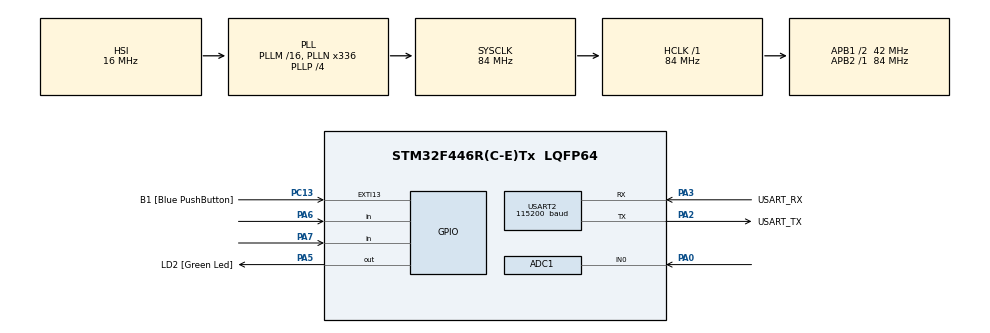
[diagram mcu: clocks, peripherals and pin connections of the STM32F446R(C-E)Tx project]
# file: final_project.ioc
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ADC1.Channel-0\#ChannelRegularConversion=ADC_CHANNEL_0
ADC1.ContinuousConvMode=ENABLE
ADC1.NbrOfConversionFlag=1
ADC1.Rank-0\#ChannelRegularConversion=1
ADC1.SamplingTime-0\#ChannelRegularConversion=ADC_SAMPLETIME_3CYCLES
ADC1.master=1
FREERTOS.Tasks01=AES,0,128,StartDefaultTask,Default,NULL,Dynamic,NULL,NULL;CHACHA20,-3,128,StartTask02,Default,NULL,Dynamic,NULL,NULL
Mcu.Family=STM32F4
Mcu.Name=STM32F446R(C-E)Tx
Mcu.Package=LQFP64
NVIC.PriorityGroup=NVIC_PRIORITYGROUP_4
PA0-WKUP.Signal=ADCx_IN0
PA13.GPIO_Label=TMS
PA13.Mode=Serial_Wire
PA13.Signal=SYS_JTMS-SWDIO
PA14.GPIO_Label=TCK
PA14.Mode=Serial_Wire
PA14.Signal=SYS_JTCK-SWCLK
PA2.GPIO_Label=USART_TX
PA2.Mode=Asynchronous
PA2.Signal=USART2_TX
PA3.GPIO_Label=USART_RX
PA3.Mode=Asynchronous
PA3.Signal=USART2_RX
PA5.GPIO_Label=LD2 [Green Led]
PA5.Signal=GPIO_Output
PA6.Signal=GPIO_Input
PA7.Signal=GPIO_Input
PB3.GPIO_Label=SWO
PB3.Signal=SYS_JTDO-SWO
PC13.GPIO_Label=B1 [Blue PushButton]
PC13.GPIO_ModeDefaultEXTI=GPIO_MODE_IT_FALLING
PC13.Signal=GPXTI13
PC14-OSC32_IN.Mode=LSE-External-Oscillator
PC14-OSC32_IN.Signal=RCC_OSC32_IN
PC15-OSC32_OUT.Mode=LSE-External-Oscillator
PC15-OSC32_OUT.Signal=RCC_OSC32_OUT
PH0-OSC_IN.Mode=HSE-External-Oscillator
PH0-OSC_IN.Signal=RCC_OSC_IN
PH1-OSC_OUT.Mode=HSE-External-Oscillator
PH1-OSC_OUT.Signal=RCC_OSC_OUT
ProjectManager.HeapSize=0x200
ProjectManager.StackSize=0x400
ProjectManager.TargetToolchain=STM32CubeIDE
RCC.48MHZClocksFreq_Value=84000000
RCC.AHBFreq_Value=84000000
RCC.APB1CLKDivider=RCC_HCLK_DIV2
RCC.APB1Freq_Value=42000000
RCC.APB1TimFreq_Value=84000000
RCC.APB2Freq_Value=84000000
RCC.APB2TimFreq_Value=84000000
RCC.CortexFreq_Value=84000000
RCC.FLatency-AdvancedSettings=FLASH_LATENCY_2
RCC.HCLKFreq_Value=84000000
RCC.HSE_VALUE=8000000
RCC.HSI_VALUE=16000000
RCC.PLLN=336
RCC.PLLP=RCC_PLLP_DIV4
RCC.SYSCLKFreq_VALUE=84000000
RCC.SYSCLKSource=RCC_SYSCLKSOURCE_PLLCLK
RCC.USBFreq_Value=168000000
RCC.VCOOutputFreq_Value=336000000
SH.ADCx_IN0.0=ADC1_IN0,IN0
USART2.BaudRate=115200 
USART2.VirtualMode=VM_ASYNC
VP_FREERTOS_VS_CMSIS_V1.Mode=CMSIS_V1
VP_MBEDTLS_VS_MBEDTLS.Mode=Enabled
board=NUCLEO-F446RE

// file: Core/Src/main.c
/* USER CODE BEGIN Header */
/**
  ******************************************************************************
  * @file           : main.c
  * @brief          : Multi-Mode Encrypted UART with Queue Management
  ******************************************************************************
  * Features:
  * - ADC voltage reading on PA0 (potentiometer)
  * - Button PA6: Toggle AES-128 ECB encryption
  * - Button PA7: Toggle ChaCha20 encryption
  * - Continuous plaintext display when no encryption active
  * - FreeRTOS task switching with queues
  * - Pre-encryption and post-encryption queues
  ******************************************************************************
  */
/* USER CODE END Header */

#include "main.h"
#include "cmsis_os.h"
#include "mbedtls.h"

/* USER CODE BEGIN Includes */
#include "mbedtls/aes.h"
#include "mbedtls/chacha20.h"
#include <string.h>
#include <stdio.h>
/* USER CODE END Includes */

/* USER CODE BEGIN PTD */
typedef enum {
    MODE_PLAINTEXT = 0,
    MODE_AES,
    MODE_CHACHA20
} EncryptionMode_t;

typedef struct {
    float voltage;
    uint16_t adcValue;
    uint32_t timestamp;
    uint32_t sequenceNumber;
} ADC_Reading_t;

typedef struct {
    uint8_t data[512];
    size_t length;
    uint32_t sequenceNumber;
    EncryptionMode_t mode;
} EncryptedData_t;
/* USER CODE END PTD */

/* USER CODE BEGIN PD */
#define MAX_PLAINTEXT_SIZE  256
#define MAX_ENCRYPTED_SIZE  (MAX_PLAINTEXT_SIZE + 16)
#define FRAME_START_BYTE    0xAA
#define FRAME_END_BYTE      0x55

// ADC millivolts
#define VREF_MV             3300
#define ADC_RESOLUTION      4095
//queues
#define PRE_ENCRYPT_QUEUE_SIZE   10
#define POST_ENCRYPT_QUEUE_SIZE  10
//buttons
#define BUTTON_AES_PIN      GPIO_PIN_6
#define BUTTON_CHACHA_PIN   GPIO_PIN_7
#define BUTTON_GPIO_PORT    GPIOA
/* USER CODE END PD */

ADC_HandleTypeDef hadc1;
UART_HandleTypeDef huart2;

osThreadId AESTaskHandle;
osThreadId ChaCha20TaskHandle;
osThreadId ADCReadTaskHandle;
osThreadId UARTTransmitTaskHandle;

osMessageQId preEncryptQueueHandle;
osMessageQId postEncryptQueueHandle;
osMutexId uartMutexHandle;

/* USER CODE BEGIN PV */

// AES key (16 bytes:AES-128)
static const unsigned char aes_key[16] = {
    0x2b, 0x7e, 0x15, 0x16, 0x28, 0xae, 0xd2, 0xa6,
    0xab, 0xf7, 0x15, 0x88, 0x09, 0xcf, 0x4f, 0x3c
};

// ChaCha20 key (32 bytes)
static const unsigned char chacha20_key[32] = {
    0x00, 0x01, 0x02, 0x03, 0x04, 0x05, 0x06, 0x07,
    0x08, 0x09, 0x0a, 0x0b, 0x0c, 0x0d, 0x0e, 0x0f,
    0x10, 0x11, 0x12, 0x13, 0x14, 0x15, 0x16, 0x17,
    0x18, 0x19, 0x1a, 0x1b, 0x1c, 0x1d, 0x1e, 0x1f
};

// ChaCha20 nonce (12 bytes)
static const unsigned char chacha20_nonce[12] = {
    0x00, 0x00, 0x00, 0x00, 0x00, 0x00, 0x00, 0x00,
    0x00, 0x00, 0x00, 0x00
};

static unsigned char aes_iv[16] = {
    0x00, 0x01, 0x02, 0x03, 0x04, 0x05, 0x06, 0x07,
    0x08, 0x09, 0x0a, 0x0b, 0x0c, 0x0d, 0x0e, 0x0f
};

// the system state
volatile EncryptionMode_t currentMode = MODE_PLAINTEXT;
volatile EncryptionMode_t pendingMode = MODE_PLAINTEXT;
volatile uint32_t buttonPA6PressTime = 0;
volatile uint32_t buttonPA7PressTime = 0;
volatile uint32_t sequenceCounter = 0;

// ADC reading
volatile uint16_t adcValue = 0;
volatile float voltageReading = 0.0f;

// debug counters/detects entry
volatile uint32_t debugISRCounter = 0;
volatile uint32_t debugPA6Counter = 0;
volatile uint32_t debugPA7Counter = 0;

/* USER CODE END PV */

void SystemClock_Config(void);
static void MX_GPIO_Init(void);
static void MX_USART2_UART_Init(void);
static void MX_ADC1_Init(void);

void ADCReadTask(void const * argument);
void AESTask(void const * argument);
void ChaCha20Task(void const * argument);
void UARTTransmitTask(void const * argument);

/* USER CODE BEGIN PFP */
// encryption
static int add_pkcs7_padding(uint8_t *data, size_t data_len, size_t buffer_size);
static uint8_t calculate_checksum(const uint8_t *data, size_t length);
static void generate_random_iv(uint8_t *iv);
static int aes_encrypt_data(const uint8_t *plaintext, size_t plain_len,
                           uint8_t *ciphertext, size_t *cipher_len, uint8_t *iv);
static int chacha20_encrypt_data(const uint8_t *plaintext, size_t plain_len,
                                uint8_t *ciphertext, size_t *cipher_len);
int create_encrypted_frame(const uint8_t *encrypted, size_t enc_len,
                          uint8_t *frame, size_t *frame_len, EncryptionMode_t mode);

// functions for utility
int _write(int file, char *ptr, int len);
float read_voltage_mv(void);
void print_hex(const char* label, const uint8_t* data, size_t length);
const char* mode_to_string(EncryptionMode_t mode);
/* USER CODE END PFP */

/* USER CODE BEGIN 0 */

/**
 * @brief Printf redirect to UART (thread-safe with mutex)
 */
int _write(int file, char *ptr, int len)
{
    if (uartMutexHandle != NULL) {
        osMutexWait(uartMutexHandle, osWaitForever);
    }
    HAL_UART_Transmit(&huart2, (uint8_t *)ptr, len, HAL_MAX_DELAY);
    if (uartMutexHandle != NULL) {
        osMutexRelease(uartMutexHandle);
    }
    return len;
}

/**
 * @brief Convert mode enum to string
 */
const char* mode_to_string(EncryptionMode_t mode)
{
    switch(mode) {
        case MODE_PLAINTEXT: return "PLAINTEXT";
        case MODE_AES: return "AES-128";
        case MODE_CHACHA20: return "CHACHA20";
        default: return "UNKNOWN";
    }
}

/**
 * @brief Print data in hex format
 */
void print_hex(const char* label, const uint8_t* data, size_t length)
{
    printf("%s [%u bytes]: ", label, (unsigned int)length);
    for (size_t i = 0; i < length; i++) {
        printf("%02X ", data[i]);
        if ((i + 1) % 16 == 0 && i != length - 1) {
            printf("\r\n                    ");
        }
    }
    printf("\r\n");
}

/**
 * @brief Read voltage from ADC in millivolts
 */
float read_voltage_mv(void)
{
    uint32_t adc_raw = adcValue;
    return (adc_raw * VREF_MV) / (float)ADC_RESOLUTION;
}

/**
 * @brief Button interrupt callback - FIXED VERSION
 *  proper toggle behavior for both buttons
 */
void HAL_GPIO_EXTI_Callback(uint16_t GPIO_Pin)
{
    // INcrement counter
    debugISRCounter++;

    if (GPIO_Pin == BUTTON_AES_PIN) {
        debugPA6Counter++;

        // if AES mode, go back to PT
        if (currentMode == MODE_AES) {
            pendingMode = MODE_PLAINTEXT;
        }
        // else switch to AES (from PT or chacha20)
        else {
            pendingMode = MODE_AES;
        }
    }
    else if (GPIO_Pin == BUTTON_CHACHA_PIN) {
        debugPA7Counter++;

        // if ChaCha20 mode, go back to PT
        if (currentMode == MODE_CHACHA20) {
            pendingMode = MODE_PLAINTEXT;
        }
        // else switch to ChaCha20 (from PT or AES)
        else {
            pendingMode = MODE_CHACHA20;
        }
    }
}

/**
 * @brief add PKCS#7 padding
 */
static int add_pkcs7_padding(uint8_t *data, size_t data_len, size_t buffer_size)
{
    size_t padding_len = 16 - (data_len % 16);

    if (data_len + padding_len > buffer_size) {
        return -1;
    }

    for (size_t i = 0; i < padding_len; i++) {
        data[data_len + i] = (uint8_t)padding_len;
    }

    return data_len + padding_len;
}

/**
 * @brief calculate XOR checksum
 */
static uint8_t calculate_checksum(const uint8_t *data, size_t length)
{
    uint8_t checksum = 0;
    for (size_t i = 0; i < length; i++) {
        checksum ^= data[i];
    }
    return checksum;
}

/**
 * @brief generate IV
 */
static void generate_random_iv(uint8_t *iv)
{
    static uint32_t counter = 0;
    counter++;

    memcpy(iv, aes_iv, 16);
    iv[12] = (counter >> 24) & 0xFF;
    iv[13] = (counter >> 16) & 0xFF;
    iv[14] = (counter >> 8) & 0xFF;
    iv[15] = counter & 0xFF;
}

/**
 * @brief encrypt data using AES-128 ECB
 */
static int aes_encrypt_data(const uint8_t *plaintext, size_t plain_len,
                           uint8_t *ciphertext, size_t *cipher_len,
                           uint8_t *iv)
{
    mbedtls_aes_context aes;
    uint8_t padded_buffer[MAX_ENCRYPTED_SIZE];
    int ret;
    int padded_len;

    (void)iv;  // IV not used in ECB mode

    if (plain_len > MAX_PLAINTEXT_SIZE) {
        return -1;
    }

    memcpy(padded_buffer, plaintext, plain_len);

    padded_len = add_pkcs7_padding(padded_buffer, plain_len, MAX_ENCRYPTED_SIZE);
    if (padded_len < 0) {
        return -2;
    }

    mbedtls_aes_init(&aes);

    ret = mbedtls_aes_setkey_enc(&aes, aes_key, 128);
    if (ret != 0) {
        mbedtls_aes_free(&aes);
        return ret;
    }

    // encrypt block by block (ECB mode)
    for (int i = 0; i < padded_len; i += 16) {
        ret = mbedtls_aes_crypt_ecb(&aes, MBEDTLS_AES_ENCRYPT,
                                     &padded_buffer[i], &ciphertext[i]);
        if (ret != 0) {
            mbedtls_aes_free(&aes);
            return ret;
        }
    }

    mbedtls_aes_free(&aes);

    *cipher_len = padded_len;
    return 0;
}

/**
 * @brief encrypt data using ChaCha20
 */
static int chacha20_encrypt_data(const uint8_t *plaintext, size_t plain_len,
                                uint8_t *ciphertext, size_t *cipher_len)
{
    mbedtls_chacha20_context chacha;
    int ret;
    static uint32_t counter = 0;
    uint8_t nonce[12];

    if (plain_len > MAX_PLAINTEXT_SIZE) {
        return -1;
    }

    // unique nonce through incrementing counter
    memcpy(nonce, chacha20_nonce, 12);
    counter++;
    nonce[8] = (counter >> 24) & 0xFF;
    nonce[9] = (counter >> 16) & 0xFF;
    nonce[10] = (counter >> 8) & 0xFF;
    nonce[11] = counter & 0xFF;

    mbedtls_chacha20_init(&chacha);

    ret = mbedtls_chacha20_setkey(&chacha, chacha20_key);
    if (ret != 0) {
        mbedtls_chacha20_free(&chacha);
        return ret;
    }

    ret = mbedtls_chacha20_starts(&chacha, nonce, 0);
    if (ret != 0) {
        mbedtls_chacha20_free(&chacha);
        return ret;
    }

    ret = mbedtls_chacha20_update(&chacha, plain_len, plaintext, ciphertext);
    if (ret != 0) {
        mbedtls_chacha20_free(&chacha);
        return ret;
    }

    mbedtls_chacha20_free(&chacha);

    *cipher_len = plain_len;
    return 0;
}

/**
 * @brief create encrypted frame with header and checksum
 */
int create_encrypted_frame(const uint8_t *encrypted, size_t enc_len,
                          uint8_t *frame, size_t *frame_len,
                          EncryptionMode_t mode)
{
    uint8_t iv_copy[16];
    size_t index = 0;

    frame[index++] = FRAME_START_BYTE;
    frame[index++] = (uint8_t)mode;
    frame[index++] = (enc_len >> 8) & 0xFF;
    frame[index++] = enc_len & 0xFF;

    generate_random_iv(iv_copy);
    memcpy(&frame[index], iv_copy, 16);
    index += 16;

    memcpy(&frame[index], encrypted, enc_len);
    index += enc_len;

    uint8_t checksum = calculate_checksum(&frame[1], index - 1);
    frame[index++] = checksum;
    frame[index++] = FRAME_END_BYTE;

    *frame_len = index;
    return 0;
}

/* USER CODE END 0 */

int main(void)
{
  HAL_Init();
  SystemClock_Config();
  MX_GPIO_Init();
  MX_USART2_UART_Init();
  MX_ADC1_Init();
  MX_MBEDTLS_Init();

  /* USER CODE BEGIN 2 */

  // ADC in continuous conversion mode
  if (HAL_ADC_Start(&hadc1) != HAL_OK) {
    Error_Handler();
  }

  HAL_Delay(1000);

  printf("\r\n\r\n");
  printf("========================================================\r\n");
  printf("  STM32 Multi-Mode Encrypted Voltage Monitor\r\n");
  printf("========================================================\r\n");
  printf("Build: %s %s\r\n", __DATE__, __TIME__);
  printf("Supported Modes:\r\n");
  printf("  - PLAINTEXT (default)\r\n");
  printf("  - AES-128 ECB\r\n");
  printf("  - ChaCha20\r\n");
  printf("ADC Resolution: 12-bit (0-4095)\r\n");
  printf("Voltage Range: 0.00V - 3.30V\r\n");
  printf("UART Baud Rate: 115200\r\n");
  printf("\r\n");
  printf("Controls:\r\n");
  printf("  - PA6: Toggle AES encryption ON/OFF\r\n");
  printf("  - PA7: Toggle ChaCha20 encryption ON/OFF\r\n");
  printf("  - Single press to switch modes\r\n");
  printf("\r\n");
  printf("Operation:\r\n");
  printf("  - Continuous ADC readings from potentiometer\r\n");
  printf("  - Press PA6 once to encrypt with AES\r\n");
  printf("  - Press PA6 again to return to plaintext\r\n");
  printf("  - Press PA7 once to encrypt with ChaCha20\r\n");
  printf("  - Press PA7 again to return to plaintext\r\n");
  printf("  - Can switch directly between encryption modes\r\n");
  printf("\r\n");
  printf("Current Mode: PLAINTEXT\r\n");
  printf("========================================================\r\n\r\n");

  /* USER CODE END 2 */

  /* create mutexes */
  osMutexDef(uartMutex);
  uartMutexHandle = osMutexCreate(osMutex(uartMutex));

  /* create queues */
  osMessageQDef(preEncryptQueue, PRE_ENCRYPT_QUEUE_SIZE, ADC_Reading_t);
  preEncryptQueueHandle = osMessageCreate(osMessageQ(preEncryptQueue), NULL);

  osMessageQDef(postEncryptQueue, POST_ENCRYPT_QUEUE_SIZE, EncryptedData_t*);
  postEncryptQueueHandle = osMessageCreate(osMessageQ(postEncryptQueue), NULL);

  /* create threads */
  osThreadDef(ADCRead, ADCReadTask, osPriorityNormal, 0, 256);
  ADCReadTaskHandle = osThreadCreate(osThread(ADCRead), NULL);

  osThreadDef(AES, AESTask, osPriorityNormal, 0, 512);
  AESTaskHandle = osThreadCreate(osThread(AES), NULL);

  osThreadDef(ChaCha20, ChaCha20Task, osPriorityNormal, 0, 512);
  ChaCha20TaskHandle = osThreadCreate(osThread(ChaCha20), NULL);

  osThreadDef(UARTTransmit, UARTTransmitTask, osPriorityHigh, 0, 512);
  UARTTransmitTaskHandle = osThreadCreate(osThread(UARTTransmit), NULL);

  /* start scheduler */
  osKernelStart();

  while (1)
  {
  }
}

void SystemClock_Config(void)
{
  RCC_OscInitTypeDef RCC_OscInitStruct = {0};
  RCC_ClkInitTypeDef RCC_ClkInitStruct = {0};

  __HAL_RCC_PWR_CLK_ENABLE();
  __HAL_PWR_VOLTAGESCALING_CONFIG(PWR_REGULATOR_VOLTAGE_SCALE3);

  RCC_OscInitStruct.OscillatorType = RCC_OSCILLATORTYPE_HSI;
  RCC_OscInitStruct.HSIState = RCC_HSI_ON;
  RCC_OscInitStruct.HSICalibrationValue = RCC_HSICALIBRATION_DEFAULT;
  RCC_OscInitStruct.PLL.PLLState = RCC_PLL_ON;
  RCC_OscInitStruct.PLL.PLLSource = RCC_PLLSOURCE_HSI;
  RCC_OscInitStruct.PLL.PLLM = 16;
  RCC_OscInitStruct.PLL.PLLN = 336;
  RCC_OscInitStruct.PLL.PLLP = RCC_PLLP_DIV4;
  RCC_OscInitStruct.PLL.PLLQ = 2;
  RCC_OscInitStruct.PLL.PLLR = 2;
  if (HAL_RCC_OscConfig(&RCC_OscInitStruct) != HAL_OK)
  {
    Error_Handler();
  }

  RCC_ClkInitStruct.ClockType = RCC_CLOCKTYPE_HCLK|RCC_CLOCKTYPE_SYSCLK
                              |RCC_CLOCKTYPE_PCLK1|RCC_CLOCKTYPE_PCLK2;
  RCC_ClkInitStruct.SYSCLKSource = RCC_SYSCLKSOURCE_PLLCLK;
  RCC_ClkInitStruct.AHBCLKDivider = RCC_SYSCLK_DIV1;
  RCC_ClkInitStruct.APB1CLKDivider = RCC_HCLK_DIV2;
  RCC_ClkInitStruct.APB2CLKDivider = RCC_HCLK_DIV1;

  if (HAL_RCC_ClockConfig(&RCC_ClkInitStruct, FLASH_LATENCY_2) != HAL_OK)
  {
    Error_Handler();
  }
}

static void MX_ADC1_Init(void)
{
  ADC_ChannelConfTypeDef sConfig = {0};

  hadc1.Instance = ADC1;
  hadc1.Init.ClockPrescaler = ADC_CLOCK_SYNC_PCLK_DIV4;
  hadc1.Init.Resolution = ADC_RESOLUTION_12B;
  hadc1.Init.ScanConvMode = DISABLE;
  hadc1.Init.ContinuousConvMode = ENABLE;
  hadc1.Init.DiscontinuousConvMode = DISABLE;
  hadc1.Init.ExternalTrigConvEdge = ADC_EXTERNALTRIGCONVEDGE_NONE;
  hadc1.Init.ExternalTrigConv = ADC_SOFTWARE_START;
  hadc1.Init.DataAlign = ADC_DATAALIGN_RIGHT;
  hadc1.Init.NbrOfConversion = 1;
  hadc1.Init.DMAContinuousRequests = DISABLE;
  hadc1.Init.EOCSelection = ADC_EOC_SINGLE_CONV;
  if (HAL_ADC_Init(&hadc1) != HAL_OK)
  {
    Error_Handler();
  }

  sConfig.Channel = ADC_CHANNEL_0;
  sConfig.Rank = 1;
  sConfig.SamplingTime = ADC_SAMPLETIME_3CYCLES;
  if (HAL_ADC_ConfigChannel(&hadc1, &sConfig) != HAL_OK)
  {
    Error_Handler();
  }
}

static void MX_USART2_UART_Init(void)
{
  huart2.Instance = USART2;
  huart2.Init.BaudRate = 115200;
  huart2.Init.WordLength = UART_WORDLENGTH_8B;
  huart2.Init.StopBits = UART_STOPBITS_1;
  huart2.Init.Parity = UART_PARITY_NONE;
  huart2.Init.Mode = UART_MODE_TX_RX;
  huart2.Init.HwFlowCtl = UART_HWCONTROL_NONE;
  huart2.Init.OverSampling = UART_OVERSAMPLING_16;
  if (HAL_UART_Init(&huart2) != HAL_OK)
  {
    Error_Handler();
  }
}

static void MX_GPIO_Init(void)
{
  GPIO_InitTypeDef GPIO_InitStruct = {0};

  __HAL_RCC_GPIOC_CLK_ENABLE();
  __HAL_RCC_GPIOH_CLK_ENABLE();
  __HAL_RCC_GPIOA_CLK_ENABLE();
  __HAL_RCC_GPIOB_CLK_ENABLE();

  /*Configure GPIO pin Output Level */
  HAL_GPIO_WritePin(LD2_GPIO_Port, LD2_Pin, GPIO_PIN_RESET);

  /*Configure GPIO pin : B1_Pin */
  GPIO_InitStruct.Pin = B1_Pin;
  GPIO_InitStruct.Mode = GPIO_MODE_IT_FALLING;
  GPIO_InitStruct.Pull = GPIO_NOPULL;
  HAL_GPIO_Init(B1_GPIO_Port, &GPIO_InitStruct);

  /*Configure GPIO pin : LD2_Pin */
  GPIO_InitStruct.Pin = LD2_Pin;
  GPIO_InitStruct.Mode = GPIO_MODE_OUTPUT_PP;
  GPIO_InitStruct.Pull = GPIO_NOPULL;
  GPIO_InitStruct.Speed = GPIO_SPEED_FREQ_LOW;
  HAL_GPIO_Init(LD2_GPIO_Port, &GPIO_InitStruct);

  /*Configure GPIO pins : PA6 PA7 (External Buttons with Interrupts) */
  GPIO_InitStruct.Pin = BUTTON_AES_PIN | BUTTON_CHACHA_PIN;
  GPIO_InitStruct.Mode = GPIO_MODE_IT_FALLING;
  GPIO_InitStruct.Pull = GPIO_PULLUP;  // Enable pull-up for buttons
  HAL_GPIO_Init(BUTTON_GPIO_PORT, &GPIO_InitStruct);

  /* EXTI interrupt init for PA6 and PA7 */
  HAL_NVIC_SetPriority(EXTI9_5_IRQn, 6, 0);  // Priority 6 (lower priority than FreeRTOS max)
  HAL_NVIC_EnableIRQ(EXTI9_5_IRQn);
}

/* USER CODE BEGIN 4 */

/**
 * @brief ADC read task - Continuously reads and queues
 */
void ADCReadTask(void const * argument)
{
    ADC_Reading_t reading;
    uint32_t queueFailCount = 0;

    printf("[ADC_TASK] Started\r\n");
    osDelay(100);

    for(;;)
    {
        // read ADC value
        adcValue = HAL_ADC_GetValue(&hadc1);
        voltageReading = read_voltage_mv();

        // prepare reading structure
        reading.voltage = voltageReading;
        reading.adcValue = adcValue;
        reading.timestamp = HAL_GetTick();
        reading.sequenceNumber = sequenceCounter++;

        // only queue if someone will process it
        // check current and pending modes
        EncryptionMode_t activeMode = (pendingMode != currentMode) ? pendingMode : currentMode;

        // only queue for encryption tasks if in encryption mode
        if (activeMode != MODE_PLAINTEXT) {
            if (osMessagePut(preEncryptQueueHandle, (uint32_t)&reading, 10) != osOK) {
                queueFailCount++;
                if (queueFailCount % 10 == 0) {
                    printf("[ADC_TASK] Warning: Pre-encrypt queue full! (fails: %lu)\r\n", queueFailCount);
                }
            }
        }
        // in plaintext mode, data is read directly by UART task via globals

        // sample every 250ms
        osDelay(250);
    }
}

/**
 * @brief AES Task - Processes data when in AES mode
 */
void AESTask(void const * argument)
{
    osEvent evt;
    ADC_Reading_t reading;
    char plaintext[128];
    uint8_t encrypted[MAX_ENCRYPTED_SIZE];
    size_t enc_len;
    EncryptedData_t *encData;
    int ret;

    printf("[AES_TASK] Started\r\n");
    osDelay(150);

    for(;;)
    {
        // check for mode change request
        if (pendingMode != MODE_AES && currentMode == MODE_AES) {
            currentMode = pendingMode;
            printf("\r\n>>> Switching to %s mode <<<\r\n\r\n",
                   mode_to_string(currentMode));
        }

        // check if it should be active
        if (currentMode == MODE_AES || pendingMode == MODE_AES) {
            // Wait :P✋
            evt = osMessageGet(preEncryptQueueHandle, 100);

            if (evt.status == osEventMessage) {
                // copy reading from queue
                memcpy(&reading, (void*)evt.value.p, sizeof(ADC_Reading_t));

                // update mode if pending
                if (pendingMode == MODE_AES && currentMode != MODE_AES) {
                    currentMode = MODE_AES;
                    printf("\r\n>>> AES encryption activated <<<\r\n\r\n");
                }

                int voltage_int = (int)(reading.voltage / 1000.0f);
                int voltage_frac = (int)((reading.voltage / 1000.0f - voltage_int) * 100);

                snprintf(plaintext, sizeof(plaintext),
                         "Voltage: %d.%02dV, ADC: %u, Seq: %lu",
                         voltage_int, voltage_frac, reading.adcValue, reading.sequenceNumber);

                printf("[AES_TASK] Plaintext: %s\r\n", plaintext);

                // Encrypt
                ret = aes_encrypt_data((uint8_t*)plaintext, strlen(plaintext),
                                      encrypted, &enc_len, NULL);

                if (ret == 0) {
                    // allocate memory
                    encData = (EncryptedData_t*)pvPortMalloc(sizeof(EncryptedData_t));

                    if (encData != NULL) {
                        // create frame with encrypted data
                        create_encrypted_frame(encrypted, enc_len,
                                             encData->data, &encData->length,
                                             MODE_AES);
                        encData->sequenceNumber = reading.sequenceNumber;
                        encData->mode = MODE_AES;

                        // Queue
                        if (osMessagePut(postEncryptQueueHandle, (uint32_t)encData, 100) != osOK) {
                            printf("[AES_TASK] Error: Post-encrypt queue full!\r\n");
                            vPortFree(encData);
                        }
                    } else {
                        printf("[AES_TASK] Error: Memory allocation failed!\r\n");
                    }
                } else {
                    printf("[AES_TASK] Error: Encryption failed: %d\r\n", ret);
                }
            }
        } else {
            // Not our turn- sleep longer Zzzz
            osDelay(100);
        }
    }
}

/**
 * @brief ChaCha20 Task - processes data when in ChaCha20 mode
 */
void ChaCha20Task(void const * argument)
{
    osEvent evt;
    ADC_Reading_t reading;
    char plaintext[128];
    uint8_t encrypted[MAX_ENCRYPTED_SIZE];
    size_t enc_len;
    EncryptedData_t *encData;
    int ret;

    printf("[CHACHA20_TASK] Started\r\n");
    osDelay(200);

    for(;;)
    {
        // Check for mode change request
        if (pendingMode != MODE_CHACHA20 && currentMode == MODE_CHACHA20) {
            currentMode = pendingMode;
            printf("\r\n>>> Switching to %s mode <<<\r\n\r\n",
                   mode_to_string(currentMode));
        }

        // check if it should be active
        if (currentMode == MODE_CHACHA20 || pendingMode == MODE_CHACHA20) {
            // wait
            evt = osMessageGet(preEncryptQueueHandle, 100);

            if (evt.status == osEventMessage) {
                // copy reading from queue
                memcpy(&reading, (void*)evt.value.p, sizeof(ADC_Reading_t));

                // update
                if (pendingMode == MODE_CHACHA20 && currentMode != MODE_CHACHA20) {
                    currentMode = MODE_CHACHA20;
                    printf("\r\n>>> ChaCha20 encryption activated <<<\r\n\r\n");
                }

                int voltage_int = (int)(reading.voltage / 1000.0f);
                int voltage_frac = (int)((reading.voltage / 1000.0f - voltage_int) * 100);

                snprintf(plaintext, sizeof(plaintext),
                         "Voltage: %d.%02dV, ADC: %u, Seq: %lu",
                         voltage_int, voltage_frac, reading.adcValue, reading.sequenceNumber);

                printf("[CHACHA20_TASK] Plaintext: %s\r\n", plaintext);

                // encrypt
                ret = chacha20_encrypt_data((uint8_t*)plaintext, strlen(plaintext),
                                           encrypted, &enc_len);

                if (ret == 0) {
                    // allocate memory
                    encData = (EncryptedData_t*)pvPortMalloc(sizeof(EncryptedData_t));

                    if (encData != NULL) {
                        // create frame with encrypted data
                        create_encrypted_frame(encrypted, enc_len,
                                             encData->data, &encData->length,
                                             MODE_CHACHA20);
                        encData->sequenceNumber = reading.sequenceNumber;
                        encData->mode = MODE_CHACHA20;

                        // queue
                        if (osMessagePut(postEncryptQueueHandle, (uint32_t)encData, 100) != osOK) {
                            printf("[CHACHA20_TASK] Error: Post-encrypt queue full!\r\n");
                            vPortFree(encData);
                        }
                    } else {
                        printf("[CHACHA20_TASK] Error: Memory allocation failed!\r\n");
                    }
                } else {
                    printf("[CHACHA20_TASK] Error: Encryption failed: %d\r\n", ret);
                }
            }
        } else {
            // Not our turn, sleep longer honk shoo
            osDelay(100);
        }
    }
}

/**
 * @brief UART Transmit Task - Handles all UART output
 */
void UARTTransmitTask(void const * argument)
{
    osEvent evt;
    EncryptedData_t *encData;
    char plaintext[128];

    printf("[UART_TASK] Started\r\n");
    osDelay(250);

    for(;;)
    {
        // Check for mode transitions and report them
        static EncryptionMode_t lastReportedMode = MODE_PLAINTEXT;
        if (currentMode != lastReportedMode) {
            printf("\r\n>>> MODE CHANGED TO: %s <<<\r\n\r\n", mode_to_string(currentMode));
            lastReportedMode = currentMode;
        }

        if (currentMode == MODE_PLAINTEXT) {
            // In plaintext mode, read directly from volatile globals
            // Don't use queue to avoid blocking
            int voltage_int = (int)(voltageReading / 1000.0f);
            int voltage_frac = (int)((voltageReading / 1000.0f - voltage_int) * 100);

            snprintf(plaintext, sizeof(plaintext),
                     "Voltage: %d.%02dV, ADC: %u, Seq: %lu",
                     voltage_int, voltage_frac, adcValue, sequenceCounter);

            printf("[PLAINTEXT] %s\r\n", plaintext);

            osDelay(250); // Match ADC reading rate

        } else {
            // In encrypted mode, get from post-encrypt queue
            evt = osMessageGet(postEncryptQueueHandle, 500); // Longer timeout

            if (evt.status == osEventMessage) {
                encData = (EncryptedData_t*)evt.value.p;

                // Print mode and sequence
                printf("[%s] Seq: %lu - ", mode_to_string(encData->mode),
                       encData->sequenceNumber);

                // Print encrypted frame in hex
                print_hex("Encrypted Frame", encData->data, encData->length);

                // Free allocated memory
                vPortFree(encData);
            } else {
                // Timeout waiting for encrypted data
                printf("[UART_TASK] Timeout waiting for encrypted data in %s mode\r\n",
                       mode_to_string(currentMode));
            }
        }

        osDelay(10);
    }
}

/**
 * @brief Stack overflow hook callback
 */
void vApplicationStackOverflowHook(TaskHandle_t xTask, char *pcTaskName)
{
    (void)xTask;
    (void)pcTaskName;

    // Can't use printf here safely, just blink LED rapidly
    __disable_irq();
    while(1)
    {
        HAL_GPIO_TogglePin(LD2_GPIO_Port, LD2_Pin);
        for(volatile int i = 0; i < 100000; i++);
    }
}

/* USER CODE END 4 */

void Error_Handler(void)
{
    __disable_irq();
    printf("ERROR: System fault!\r\n");
    while (1)
    {
        HAL_GPIO_TogglePin(LD2_GPIO_Port, LD2_Pin);
        HAL_Delay(100);
    }
}
